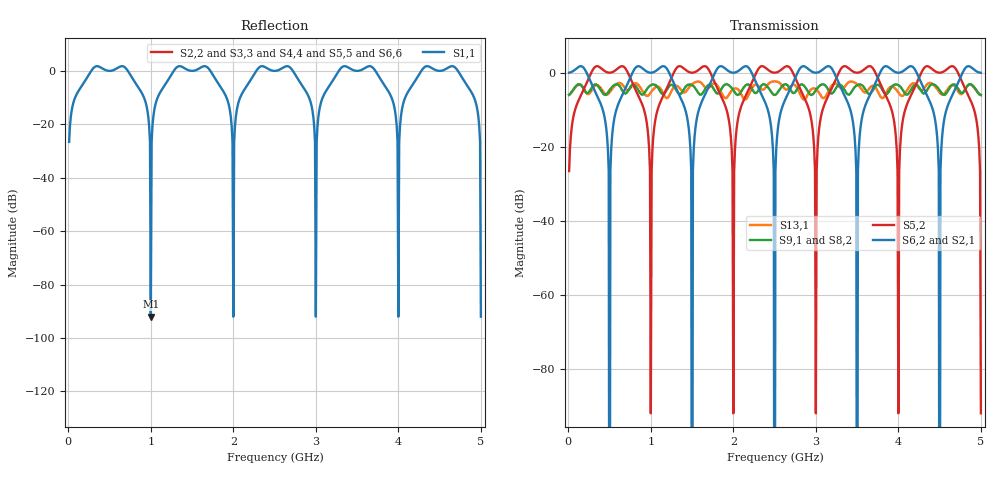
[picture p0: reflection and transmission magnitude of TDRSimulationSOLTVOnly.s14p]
# MHz MA S R 50.0
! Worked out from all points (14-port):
!   500 points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, 10 MHz to 5 GHz, reference 50 ohm
!   strongest paths, dB at 10 MHz, 1.26 GHz, 2.51 GHz, 3.76 GHz, 5 GHz:
!     S6,2: 0.0, -1.9, -26.6, -0.9, 0.0
!     S2,1: 0.0, -1.9, -26.6, -0.9, 0.0
!     S5,2: -26.6, -0.9, 0.0, -1.9, -92.0
!     S9,1: -6.0, -3.3, -6.0, -3.3, -6.0
!     S8,2: -6.0, -3.3, -6.0, -3.3, -6.0
!     S13,1: -6.0, -4.6, -2.3, -5.5, -6.0
!   lowest |S11| = -92.0 dB at 1 GHz (marker M1), VSWR 1.00, Z = 50 + j0 ohm
!   |S11| at or under -10 dB: 917.4 MHz to 1.083 GHz (165.2 MHz wide, 16.5 % of centre); 1.917 GHz to 2.083 GHz (165.2 MHz wide, 8.26 % of centre); 2.917 GHz to 3.083 GHz (165.2 MHz wide, 5.51 % of centre) (the widest 3 of 6)
